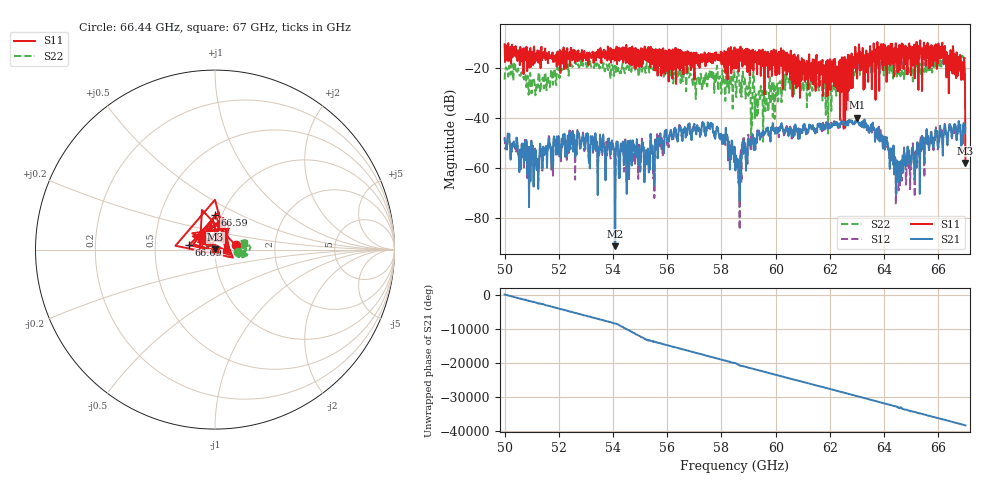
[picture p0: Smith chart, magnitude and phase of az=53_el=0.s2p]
!Created with skrf (http://scikit-rf.org).
# GHz S RI R 50.0
!freq ReS11 ImS11 ReS21 ImS21 ReS12 ImS12 ReS22 ImS22
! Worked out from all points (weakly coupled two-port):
!   1001 points, 50 GHz to 67 GHz, reference 50 ohm
!   highest |S21| = -39.77 dB at 62.99 GHz (marker M1); lowest = -91.2 dB at 54.08 GHz (marker M2)
!   lowest |S11| = -57.9 dB at 67 GHz (marker M3), VSWR 1.00, Z = 50.1 + j0.0712 ohm
!   |S11| at or under -10 dB: 50.14 GHz to 63.62 GHz (13.48 GHz wide, 23.7 % of centre); 64.43 GHz to 65.2 GHz (762.3 MHz wide, 1.18 % of centre); 66.15 GHz to end of sweep (the widest 3 of 10)
!   |S22| runs from -52.5 to -14.0 dB; largest |S21 - S12| = 0.0026
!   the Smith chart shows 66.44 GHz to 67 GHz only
!   S11 on the Smith chart (normalised r, x): 66.44 GHz: 1.26, +0.06; 66.59 GHz: 0.93, +0.38; 66.69 GHz: 0.75, +0.04; 67 GHz: 1.00, +0.00
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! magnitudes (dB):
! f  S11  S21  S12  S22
! 50 GHz  -10.3  -48.5  -47.5  -24.5
! 51.16 GHz  -14.9  -53.6  -53.3  -28.2
! 52.84 GHz  -14.1  -49.2  -47.9  -19.6
! 54.08 GHz  -12.4  -91.2  -72.3  -19.6
! 55.24 GHz  -17.0  -58.4  -58.5  -18.3
! 55.68 GHz  -13.7  -48.3  -47.1  -21.9
! 57.58 GHz  -15.0  -44.3  -44.3  -23.8
! 58.5 GHz  -20.1  -55.7  -52.4  -24.5
! 58.65 GHz  -14.4  -61.5  -57.2  -24.3
! 58.79 GHz  -13.5  -54.4  -52.7  -21.2
! 59.61 GHz  -13.3  -46.1  -45.7  -33.4
! 61.34 GHz  -25.0  -44.5  -43.3  -25.7
! 62 GHz  -16.3  -43.3  -44.0  -24.6
! 62.56 GHz  -43.8  -42.3  -43.1  -19.9
! 62.99 GHz  -14.4  -39.8  -41.0  -20.4
! 64.18 GHz  -18.3  -53.2  -52.7  -18.6
! 64.52 GHz  -12.2  -62.5  -62.5  -19.1
! 66.44 GHz  -18.5  -42.8  -43.6  -17.7
! 66.59 GHz  -14.2  -42.4  -42.5  -16.0
! 66.69 GHz  -16.8  -46.1  -45.5  -15.5
! 66.9 GHz  -17.5  -50.2  -47.7  -15.3
! 67 GHz  -57.9  -44.0  -45.7  -15.5
